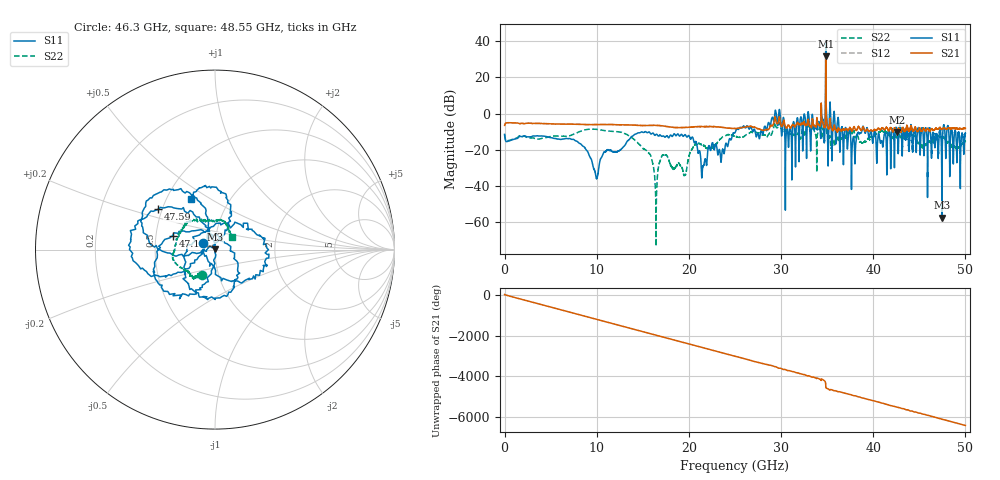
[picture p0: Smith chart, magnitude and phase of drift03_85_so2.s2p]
!Created with skrf (http://scikit-rf.org).
# Hz S RI R 50.0
!freq ReS11 ImS11 ReS21 ImS21 ReS12 ImS12 ReS22 ImS22
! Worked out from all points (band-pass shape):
!   10001 points, 300 kHz to 50 GHz, reference 50 ohm
!   highest |S21| = 31.43 dB at 34.85 GHz (marker M1); lowest = -10.3 dB at 42.55 GHz (marker M2)
!   |S21| within 3 dB of the highest: 34.84388 GHz to 34.84579 GHz (1.917 MHz wide, 0.0055 % of centre)
!   lowest |S11| = -57.3 dB at 47.44 GHz (marker M3), VSWR 1.00, Z = 50.1 + j0.118 ohm
!   |S11| at or under -10 dB: start of sweep to 15.23 GHz; 15.31 GHz to 25.05 GHz (9.74 GHz wide, 48.3 % of centre); 40.22 GHz to 41.61 GHz (1.386 GHz wide, 3.39 % of centre) (the widest 3 of 51)
!   |S22| runs from -73.0 to 22.3 dB; largest |S21 - S12| = 5
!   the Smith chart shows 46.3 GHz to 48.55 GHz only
!   S11 on the Smith chart (normalised r, x): 46.3 GHz: 0.87, +0.06; 47.15 GHz: 0.61, +0.10; 47.59 GHz: 0.48, +0.25; 48.55 GHz: 0.66, +0.41
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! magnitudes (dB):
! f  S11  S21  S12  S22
! 300 kHz  -11.5  -6.5  -6.5  -11.4
! 8.335 GHz  -17.1  -6.0  -6.0  -9.6
! 9.96 GHz  -35.7  -6.1  -6.1  -8.7
! 13.85 GHz  -12.5  -6.3  -6.3  -13.5
! 16.67 GHz  -12.4  -6.5  -6.5  -30.4
! 17.33 GHz  -12.7  -6.9  -6.9  -23.0
! 19.56 GHz  -11.6  -7.6  -7.6  -33.9
! 20.21 GHz  -13.9  -7.5  -7.5  -20.5
! 21.55 GHz  -28.8  -7.2  -7.2  -17.6
! 25 GHz  -10.6  -8.2  -8.2  -12.5
! 33.34 GHz  -3.8  -6.8  -6.7  -9.3
! 34.85 GHz  40.3  31.4  31.2  22.3
! 37.84 GHz  -12.9  -8.1  -8.2  -9.7
! 39.07 GHz  -10.2  -9.3  -9.4  -15.4
! 41.67 GHz  -9.1  -9.4  -9.3  -11.3
! 42.55 GHz  -8.4  -10.3  -10.4  -13.3
! 46.3 GHz  -22.2  -8.4  -8.5  -16.0
! 47.15 GHz  -12.1  -8.1  -8.1  -12.4
! 47.44 GHz  -57.3  -8.5  -8.5  -13.4
! 47.59 GHz  -8.2  -8.2  -8.2  -13.4
! 48.55 GHz  -10.1  -8.1  -8.2  -18.5
! 50 GHz  -10.7  -8.2  -8.2  -15.5
